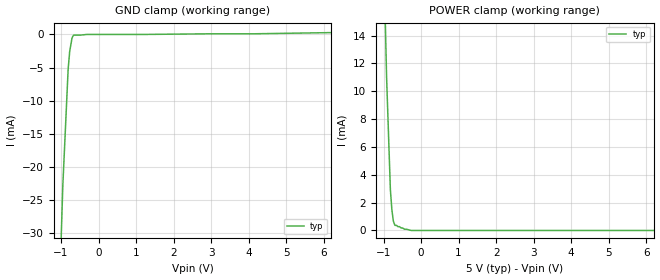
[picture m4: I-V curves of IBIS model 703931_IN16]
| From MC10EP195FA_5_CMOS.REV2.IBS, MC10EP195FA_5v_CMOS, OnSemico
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| (C) COPYRIGHT 1993-2001
| MENTOR GRAPHICS CORPORATION
| ICX STANDARD LIBRARY, ICX PROJECT MODELING,
| ICX CUSTOM MODELING, ICX VENDOR MODEL
| ALL RIGHTS RESERVED.
| THE FOLLOWING ARE TRADEMARKS OR SERVICE MARKS OF
| MENTOR GRAPHICS CORPORATION:ICX (R), ICX STANDARD
| LIBRARY(R), ICX PROJECT MODELING(R), ICX CUSTOM
| MODELING(R), qualityIBIS(TM), MODELVIEWER(TM),
| AND MODELEDITOR(TM)
| ALL COPIES OF SOFTWARE, INCLUDING BUT NOT LIMITED TO
| ANY MODIFICATIONS, ENHANCEMENTS OR DERIVATIVE WORKS,
| MUST CONTAIN ALL MENTOR GRAPHICS CORPORATION'S
| NOTICES AND LEGENDS, INCLUDING THOSE EMBEDDED IN
| SOFTWARE AND THOSE AFFIXED TO SOFTWARE MEDIUM
| AND CONTAINER, AS RECEIVED FROM MENTOR GRAPHICS
| CORPORATION.
| Model Application Version 1.89 2/18/99.
[Model] 703931_IN16
Model_type Input_ECL
Vinl = 3.455V
Vinh = 3.855V
C_comp 4.000pF NA NA
| variable typ   min   max
[Voltage Range] 5.000V NA NA
[GND Clamp Reference] 0.000V NA NA
[POWER Clamp Reference] 5.000V NA NA
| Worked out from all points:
|   GND clamp passes 1 mA (typ) near -0.72 V on its own axis
|   POWER clamp passes 1 mA (typ) near -0.75 V on its own axis
[GND Clamp]
-5V       -913.8mA   NA         NA
-1.115V   -52.2mA    NA         NA
-952mV    -22.8mA    NA         NA
-811mV    -5.3mA     NA         NA
-770mV    -2.6mA     NA         NA
-709mV    -600uA     NA         NA
-689mV    -300uA     NA         NA
-658.7mV  -100uA     NA         NA
4.135V    100uA      NA         NA
10V       607.8uA    NA         NA
[POWER Clamp]
-5V       626.3mA    NA         NA
-1.041V   25.43mA    NA         NA
-919mV    11.05mA    NA         NA
-818mV    2.954mA    NA         NA
-777mV    1.458mA    NA         NA
-737mV    661.3uA    NA         NA
-696mV    368.4uA    NA         NA
-655mV    368.4uA    NA         NA
-442.5mV  91.17uA    NA         NA
-261.3mV  0A         NA         NA
10V       0A         NA         NA
